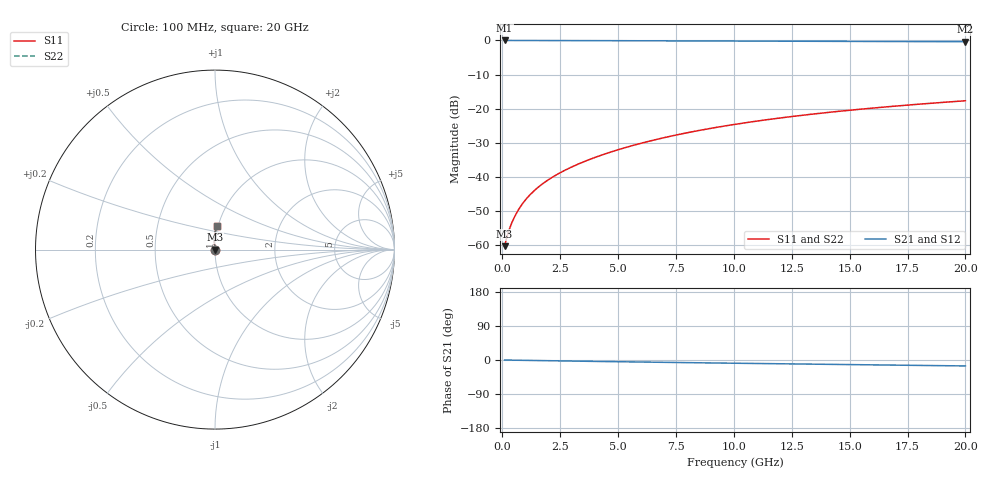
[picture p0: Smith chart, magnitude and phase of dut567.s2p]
! Touchstone file exported from HFSS 2024.1.0
!  File:  C:/UserFiles/LocalFiles/RDL_TSV_Batchsim/temp_RDL_bottom_567_1779690039.aedt
!  Generated:  02:23:08 PM May 25, 2026
!  Design:  RDL_bottom
!  Project:  temp_RDL_bottom_567_1779690039
!  Setup:  Setup1
!  Solution:  Sweep
! Variables:
!  dtsv = 10.80580581um
!  hbump = 3um
!  htsv = 65.57um
!  ldown = 234.66um
!  lrdl = 100um
!  p = 40
!  p1 = 46.32um
!  rhole = 1um
!  t = 450um
!  tdown = 4.9um
!  trdl = 3.915915916um
!  wdown = 28.5um
!  wrdl = 20um
# GHz S MA R 50.000000
! Terminal data exported
! Port[1] = RDL1_T1
! Port[2] = RDL1_T2
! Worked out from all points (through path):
!   200 points, 100 MHz to 20 GHz, reference 50 ohm
!   highest |S21| = -0.01 dB at 100 MHz (marker M1); lowest = -0.4 dB at 20 GHz (marker M2)
!   group delay of S21, straight-line fit = 2.14 ps
!   lowest |S11| = -60.4 dB at 100 MHz (marker M3), VSWR 1.00, Z = 50.1 + j0.0544 ohm
!   |S11| at or under -10 dB: start of sweep to end of sweep
!   |S22| runs from -60.4 to -17.7 dB; largest |S21 - S12| = 3.1e-15
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0.1  0.0009593 34.5  0.9992 -0.1  0.9992 -0.1  0.0009593 34.5
! Gamma 0 0 0 0
! Port Impedance 50 0 50 0
0.2  0.001317 49.4  0.9991 -0.2  0.9991 -0.2  0.001317 49.4
0.3  0.001684 58.2  0.999 -0.3  0.999 -0.3  0.001684 58.2
0.4  0.002066 64.4  0.999 -0.4  0.999 -0.4  0.002066 64.4
0.5  0.002464 68.9  0.9989 -0.5  0.9989 -0.5  0.002464 68.9
0.6  0.002873 72.3  0.9988 -0.6  0.9988 -0.6  0.002873 72.3
0.8  0.003716 77.0  0.9987 -0.8  0.9987 -0.8  0.003716 77.0
1  0.00458 80.3  0.9985 -1.0  0.9985 -1.0  0.00458 80.3
1.2  0.005458 82.7  0.9983 -1.2  0.9983 -1.2  0.005458 82.6
1.6  0.00725 86.0  0.9978 -1.5  0.9978 -1.5  0.00725 86.0
2.1  0.009557 88.9  0.9971 -2.0  0.9971 -2.0  0.009557 88.9
2.7  0.01244 91.4  0.996 -2.6  0.996 -2.6  0.01244 91.4
3.5  0.01651 93.8  0.9943 -3.3  0.9943 -3.3  0.01651 93.8
4.2  0.02031 95.2  0.9926 -3.9  0.9926 -3.9  0.02031 95.2
5  0.02492 96.3  0.9905 -4.6  0.9905 -4.6  0.02492 96.3
6.8  0.03624 97.0  0.9858 -6.0  0.9858 -6.0  0.03624 97.0
8.4  0.0471 96.4  0.9816 -7.3  0.9816 -7.3  0.0471 96.4
10.1  0.05913 95.1  0.9776 -8.6  0.9776 -8.6  0.05913 95.1
11.7  0.07068 93.5  0.974 -9.8  0.974 -9.8  0.07068 93.5
13.4  0.08303 91.6  0.9705 -11.0  0.9705 -11.0  0.08302 91.6
16.7  0.1069 88.0  0.9643 -13.4  0.9643 -13.4  0.1069 88.0
20  0.1303 84.5  0.9585 -15.7  0.9585 -15.7  0.1303 84.5
